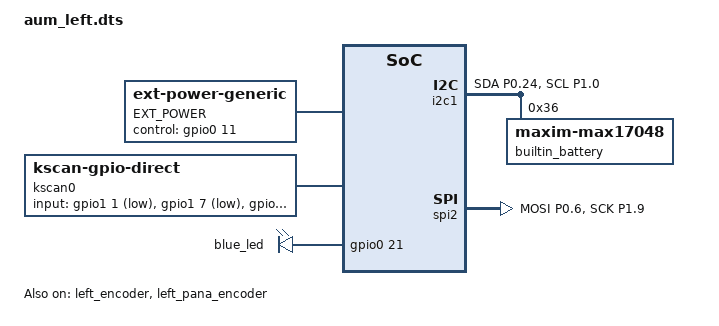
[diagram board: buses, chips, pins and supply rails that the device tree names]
#include "aum.dtsi"
#include <dt-bindings/led/led.h>

/ {
	EXT_POWER {
		compatible = "zmk,ext-power-generic";
		control-gpios = <&gpio0 11 GPIO_ACTIVE_HIGH>;
		init-delay-ms = <50>;
	};
};

&pinctrl {
    i2c1_default: i2c1_default {
        group1 {
            psels = <NRF_PSEL(TWIM_SDA, 0, 24)>,
                <NRF_PSEL(TWIM_SCL, 1, 0)>;
						bias-pull-up;
        };
    };

    i2c1_sleep: i2c1_sleep {
        group1 {
            psels = <NRF_PSEL(TWIM_SDA, 0, 24)>,
                <NRF_PSEL(TWIM_SCL, 1, 0)>;
            low-power-enable;
						bias-pull-up;
        };
    };

    spi2_default: spi2_default {
				group1 {
						psels = <NRF_PSEL(SPIM_MOSI, 0, 6)>,
						<NRF_PSEL(SPIM_SCK, 1, 9)>;
				};
		};
	
    spi2_sleep: spi2_sleep {
				group1 {
						psels = <NRF_PSEL(SPIM_MOSI, 0, 6)>,
						 <NRF_PSEL(SPIM_SCK,	1, 9)>;
						low-power-enable;
				};
		};
};


&i2c1 {
	compatible = "nordic,nrf-twi";
	pinctrl-0 = <&i2c1_default>;
	pinctrl-1 = <&i2c1_sleep>;
	pinctrl-names = "default", "sleep"; 
	

	builtin_battery: max17048@36 {
		compatible = "zmk,maxim-max17048";
		status = "okay";
		reg = <0x36>;
	};

	status = "okay";
};

lpm_view_spi: &spi2 {
    compatible = "nordic,nrf-spim";
    pinctrl-0 = <&spi2_default>;
    pinctrl-1 = <&spi2_sleep>;
    pinctrl-names = "default", "sleep";
    cs-gpios = <&gpio0 26 (GPIO_ACTIVE_HIGH | GPIO_PULL_DOWN) >;
};

nice_view_spi: &spi2 {
    compatible = "nordic,nrf-spim";
    pinctrl-0 = <&spi2_default>;
    pinctrl-1 = <&spi2_sleep>;
    pinctrl-names = "default", "sleep";
    cs-gpios = <&gpio0 26 (GPIO_ACTIVE_HIGH | GPIO_PULL_DOWN) >;
};
&left_encoder {
    status = "okay";
};
&left_pana_encoder {
    status = "okay";
};
&matrix_physical_layout {
  	kscan = <&kscan0>;
};
/ {
	chosen {
		zmk,battery = &builtin_battery;
		zmk,physical-layout = &matrix_physical_layout;
	};
	kscan0: kscan {
		compatible = "zmk,kscan-gpio-direct";
		wakeup-source;
		input-gpios
			= <&gpio1  1 (GPIO_ACTIVE_LOW | GPIO_PULL_UP)>  //19
			, <&gpio1	 7 (GPIO_ACTIVE_LOW | GPIO_PULL_UP)> //18
			, <&gpio1	 6 (GPIO_ACTIVE_LOW | GPIO_PULL_UP)>  //13
			, <&gpio1  10 (GPIO_ACTIVE_LOW | GPIO_PULL_UP)>  //12
			, <&gpio0  2 (GPIO_ACTIVE_LOW | GPIO_PULL_UP)>  //5
			, <&gpio0  3 (GPIO_ACTIVE_LOW | GPIO_PULL_UP)> //4
			, <&gpio0  4 (GPIO_ACTIVE_LOW | GPIO_PULL_UP)> //ex1
			, <&gpio1	 3 (GPIO_ACTIVE_LOW | GPIO_PULL_UP)>  //20
			, <&gpio1  2 (GPIO_ACTIVE_LOW | GPIO_PULL_UP)>  //17
			, <&gpio0  9 (GPIO_ACTIVE_LOW | GPIO_PULL_UP)>  //14
			, <&gpio1  13 (GPIO_ACTIVE_LOW | GPIO_PULL_UP)>  //11
			, <&gpio0 29 (GPIO_ACTIVE_LOW | GPIO_PULL_UP)> //6
			, <&gpio0 28 (GPIO_ACTIVE_LOW | GPIO_PULL_UP)>  //3
			, <&gpio0 8 (GPIO_ACTIVE_LOW | GPIO_PULL_UP)> //ex2
			, <&gpio1 5  (GPIO_ACTIVE_LOW | GPIO_PULL_UP)>  //21
			, <&gpio1 4 (GPIO_ACTIVE_LOW | GPIO_PULL_UP)> //16
			, <&gpio0 10 (GPIO_ACTIVE_LOW | GPIO_PULL_UP)>  //15
			, <&gpio1 15 (GPIO_ACTIVE_LOW | GPIO_PULL_UP)>  //10
			, <&gpio0 31 (GPIO_ACTIVE_LOW | GPIO_PULL_UP)>  //7
			, <&gpio0 30 (GPIO_ACTIVE_LOW | GPIO_PULL_UP)> //2
			, <&gpio0 12 (GPIO_ACTIVE_LOW | GPIO_PULL_UP)> //ex3
			, <&gpio0 17 (GPIO_ACTIVE_LOW | GPIO_PULL_UP)> // 9
			, <&gpio0 13 (GPIO_ACTIVE_LOW | GPIO_PULL_UP)> // 8
			 ,<&gpio0 15 (GPIO_ACTIVE_LOW | GPIO_PULL_UP)> //1
		;
	};

	leds {
		compatible = "gpio-leds";
		blue_led: led_0 {
			gpios = <&gpio0 21 GPIO_ACTIVE_HIGH>;
		};
	};
};
